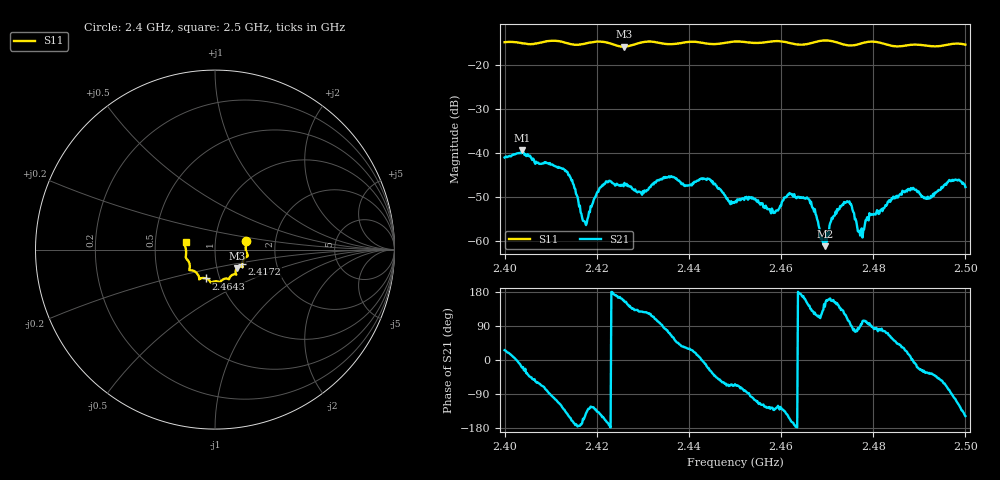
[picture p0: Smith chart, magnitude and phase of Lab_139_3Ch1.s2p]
# Hz S RI R 50
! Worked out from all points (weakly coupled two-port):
!   601 points, 2.4 GHz to 2.5 GHz, reference 50 ohm
!   highest |S21| = -39.43 dB at 2.4038 GHz (marker M1); lowest = -61.2 dB at 2.4695 GHz (marker M2)
!   lowest |S11| = -15.9 dB at 2.4258 GHz (marker M3), VSWR 1.38, Z = 62.3 - j13.3 ohm
!   |S11| at or under -10 dB: start of sweep to end of sweep
!   S12 and S22 are empty: the file has one direction only
!   S11 on the Smith chart (normalised r, x): 2.4 GHz: 1.41, +0.14; 2.4172 GHz: 1.34, -0.22; 2.4643 GHz: 0.86, -0.29; 2.5 GHz: 0.72, +0.06
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2.4e9  0.1732 0.0489  0.00794 0.00386  0 0  0 0
2.403833e9  0.1719 0.0272  0.00999 -0.00375  0 0  0 0
2.413167e9  0.1726 -0.0421  -0.00441 -0.00432  0 0  0 0
2.416667e9  0.1529 -0.0742  -0.00198 -0.000356  0 0  0 0
2.417167e9  0.152 -0.0798  -0.00154 -0.000663  0 0  0 0
2.421667e9  0.1531 -0.096  -0.00402 -0.00178  0 0  0 0
2.425833e9  0.1219 -0.1037  -0.00385 0.00157  0 0  0 0
2.429667e9  0.1167 -0.1352  -0.00212 0.00274  0 0  0 0
2.433333e9  0.1128 -0.1371  -0.00098 0.0048  0 0  0 0
2.444333e9  0.061 -0.1611  0.00468 -0.0019  0 0  0 0
2.45e9  0.0287 -0.1808  0.0012 -0.00246  0 0  0 0
2.458833e9  -0.0216 -0.1836  -0.00135 -0.00172  0 0  0 0
2.461833e9  -0.0293 -0.1739  -0.00315 -0.00151  0 0  0 0
2.464333e9  -0.0501 -0.1608  -0.00311 0.000375  0 0  0 0
2.466667e9  -0.0761 -0.1591  -0.0016 0.00191  0 0  0 0
2.4695e9  -0.0884 -0.1661  -0.000672 0.00055  0 0  0 0
2.473833e9  -0.0964 -0.138  -0.00135 0.00232  0 0  0 0
2.475167e9  -0.1079 -0.1248  -3.67e-05 0.00263  0 0  0 0
2.477167e9  -0.128 -0.1159  1.76e-05 0.00115  0 0  0 0
2.483333e9  -0.1406 -0.0897  0.00115 0.00255  0 0  0 0
2.488167e9  -0.1607 -0.0493  0.00395 0.000457  0 0  0 0
2.5e9  -0.1635 0.0426  -0.00345 -0.00217  0 0  0 0
